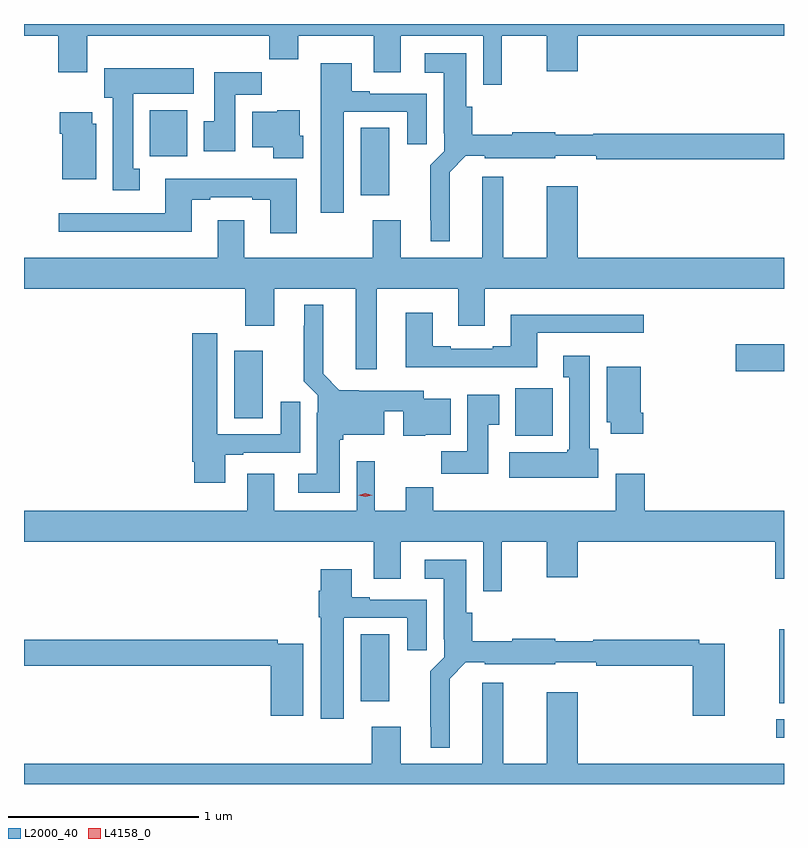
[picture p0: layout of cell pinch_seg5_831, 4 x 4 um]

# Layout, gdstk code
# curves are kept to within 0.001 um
import gdstk
lib = gdstk.Library(unit=1e-6, precision=1e-09)
def R(c, l, rs):  # rectangles x0, y0, x1, y1
    for r in rs: c.add(gdstk.rectangle(r[:2], r[2:], *l))
def P(c, l, *ps):  # polygons
    for p in ps: c.add(gdstk.Polygon(p, *l))
L2000_40 = (2000, 40)
L4158_0 = (4158, 0)

pinch_seg5_831 = lib.new_cell('pinch_seg5_831')
R(pinch_seg5_831, L2000_40, [(789.591,882.368,789.633,882.465), (789.608,882.55,789.633,882.94), (787.406,882.561,787.555,882.914), (788.219,883.958,788.415,884.209), (786.74,884.05,786.889,884.404), (789.378,884.297,789.633,884.439), (787.406,885.225,787.555,885.578), (786.296,885.428,786.493,885.67)])
P(pinch_seg5_831, L2000_40, [(788.148,886.064),(788.384,886.064),(788.384,885.876),(788.548,885.876),(788.548,886.064),(789.633,886.064),(789.633,886.125),(785.633,886.125),(785.633,886.064),(785.813,886.064),(785.813,885.87),(785.965,885.87),(785.965,886.064),(786.925,886.064),(786.925,885.94),(787.077,885.94),(787.077,886.064),(787.475,886.064),(787.475,885.87),(787.615,885.87),(787.615,886.064),(788.049,886.064),(788.049,885.804),(788.148,885.804)],
  [(787.873,885.344),(787.959,885.431),(788.058,885.431),(788.058,885.419),(788.43,885.419),(788.43,885.431),(788.644,885.431),(788.644,885.412),(789.633,885.412),(789.633,885.548),(788.63,885.548),(788.63,885.541),(788.43,885.541),(788.43,885.554),(788.202,885.554),(788.202,885.541),(787.991,885.541),(787.991,885.69),(787.96,885.69),(787.96,885.97),(787.743,885.97),(787.743,885.869),(787.841,885.869),(787.841,885.55),(787.845,885.55),(787.845,885.456),(787.771,885.382),(787.771,885.091),(787.775,885.091),(787.775,884.981),(787.873,884.981)],
  [(787.315,885.663),(787.649,885.663),(787.649,885.492),(787.753,885.492),(787.753,885.759),(787.453,885.759),(787.453,885.772),(787.357,885.772),(787.357,885.919),(787.196,885.919),(787.196,885.132),(787.315,885.132)],
  [(786.241,885.362),(786.208,885.362),(786.208,885.758),(786.526,885.758),(786.526,885.892),(786.056,885.892),(786.056,885.738),(786.101,885.738),(786.101,885.249),(786.241,885.249)],
  [(786.745,885.752),(786.884,885.752),(786.884,885.871),(786.635,885.871),(786.635,885.612),(786.578,885.612),(786.578,885.456),(786.745,885.456)],
  [(787.102,885.537),(787.084,885.537),(787.084,885.67),(786.966,885.67),(786.966,885.664),(786.833,885.664),(786.833,885.476),(786.944,885.476),(786.944,885.419),(787.102,885.419)],
  [(786.013,885.6),(785.992,885.6),(785.992,885.661),(785.822,885.661),(785.822,885.548),(785.834,885.548),(785.834,885.308),(786.013,885.308)],
  [(787.489,884.732),(787.919,884.732),(787.919,884.538),(788.059,884.538),(788.059,884.732),(789.633,884.732),(789.633,884.896),(788.548,884.896),(788.548,885.271),(788.384,885.271),(788.384,884.896),(788.155,884.896),(788.155,885.322),(788.045,885.322),(788.045,884.896),(787.615,884.896),(787.615,885.091),(787.468,885.091),(787.468,884.896),(786.793,884.896),(786.793,885.091),(786.653,885.091),(786.653,884.896),(785.633,884.896),(785.633,884.732),(786.797,884.732),(786.797,884.538),(786.949,884.538),(786.949,884.732),(787.379,884.732),(787.379,884.307),(787.489,884.307)],
  [(787.069,885.31),(786.377,885.31),(786.377,885.129),(785.817,885.129),(785.817,885.032),(786.517,885.032),(786.517,885.201),(786.613,885.201),(786.613,885.213),(786.833,885.213),(786.833,885.201),(786.929,885.201),(786.929,885.024),(787.069,885.024)],
  [(787.294,883.938),(787.312,883.938),(787.312,883.964),(787.528,883.964),(787.528,884.088),(787.628,884.088),(787.628,883.958),(787.746,883.958),(787.746,883.964),(787.879,883.964),(787.879,884.152),(787.738,884.152),(787.738,884.196),(787.293,884.197),(787.207,884.284),(787.207,884.647),(787.109,884.647),(787.109,884.537),(787.105,884.537),(787.105,884.246),(787.179,884.172),(787.179,884.078),(787.175,884.078),(787.175,883.759),(787.077,883.759),(787.077,883.658),(787.294,883.658)],
  [(788.335,884.499),(788.896,884.499),(788.896,884.596),(788.195,884.596),(788.195,884.428),(788.099,884.428),(788.099,884.415),(787.879,884.415),(787.879,884.428),(787.783,884.428),(787.783,884.605),(787.643,884.605),(787.643,884.318),(788.335,884.318)],
  [(786.691,883.857),(786.787,883.857),(786.787,883.869),(787.087,883.869),(787.087,884.137),(786.983,884.137),(786.983,883.965),(786.649,883.965),(786.649,884.497),(786.518,884.497),(786.518,883.822),(786.53,883.822),(786.53,883.71),(786.691,883.71)],
  [(788.656,883.89),(788.611,883.89),(788.611,884.38),(788.471,884.38),(788.471,884.267),(788.504,884.267),(788.504,883.884),(788.491,883.884),(788.491,883.87),(788.187,883.87),(788.187,883.736),(788.656,883.736)],
  [(788.891,884.08),(788.878,884.08),(788.878,884.32),(788.699,884.32),(788.699,884.028),(788.72,884.028),(788.72,883.968),(788.891,883.968)],
  [(788.077,884.017),(788.134,884.017),(788.134,884.173),(787.967,884.173),(787.967,883.876),(787.828,883.876),(787.828,883.758),(788.077,883.758)],
  [(788.148,883.4),(788.384,883.4),(788.384,883.212),(788.548,883.212),(788.548,883.4),(789.587,883.4),(789.587,883.206),(789.633,883.206),(789.633,883.564),(788.9,883.564),(788.9,883.759),(788.747,883.759),(788.747,883.564),(787.787,883.564),(787.787,883.688),(787.643,883.688),(787.643,883.564),(787.48,883.564),(787.48,883.825),(787.383,883.825),(787.383,883.564),(786.949,883.564),(786.949,883.759),(786.809,883.759),(786.809,883.564),(785.633,883.564),(785.633,883.4),(787.475,883.4),(787.475,883.206),(787.615,883.206),(787.615,883.4),(788.049,883.4),(788.049,883.14),(788.148,883.14)],
  [(787.873,882.68),(787.959,882.767),(788.058,882.767),(788.058,882.755),(788.43,882.755),(788.43,882.767),(788.644,882.767),(788.644,882.748),(789.152,882.748),(789.152,882.483),(789.322,882.483),(789.322,882.864),(789.188,882.864),(789.188,882.884),(788.63,882.884),(788.63,882.877),(788.43,882.877),(788.43,882.89),(788.202,882.89),(788.202,882.877),(787.991,882.877),(787.991,883.026),(787.96,883.026),(787.96,883.306),(787.743,883.306),(787.743,883.205),(787.841,883.205),(787.841,882.886),(787.845,882.886),(787.845,882.792),(787.771,882.718),(787.771,882.427),(787.775,882.427),(787.775,882.317),(787.873,882.317)],
  [(787.315,882.999),(787.649,882.999),(787.649,882.828),(787.753,882.828),(787.753,883.095),(787.453,883.095),(787.453,883.108),(787.357,883.108),(787.357,883.255),(787.196,883.255),(787.196,883.142),(787.184,883.142),(787.184,883.002),(787.196,883.002),(787.196,882.468),(787.315,882.468)],
  [(787.102,882.864),(786.968,882.864),(786.968,882.884),(785.633,882.884),(785.633,882.748),(786.932,882.748),(786.932,882.483),(787.102,882.483)],
  [(789.633,882.232),(788.548,882.232),(788.548,882.607),(788.384,882.607),(788.384,882.232),(788.155,882.232),(788.155,882.658),(788.045,882.658),(788.045,882.232),(787.615,882.232),(787.615,882.427),(787.463,882.427),(787.463,882.232),(785.633,882.232),(785.633,882.125),(789.633,882.125)])
P(pinch_seg5_831, L4158_0, [(787.43,883.636),(787.395,883.645),(787.394,883.645),(787.395,883.645),(787.43,883.656),(787.466,883.646),(787.466,883.646),(787.466,883.646)])

lib.write_gds('pinch_seg5_831.gds')
